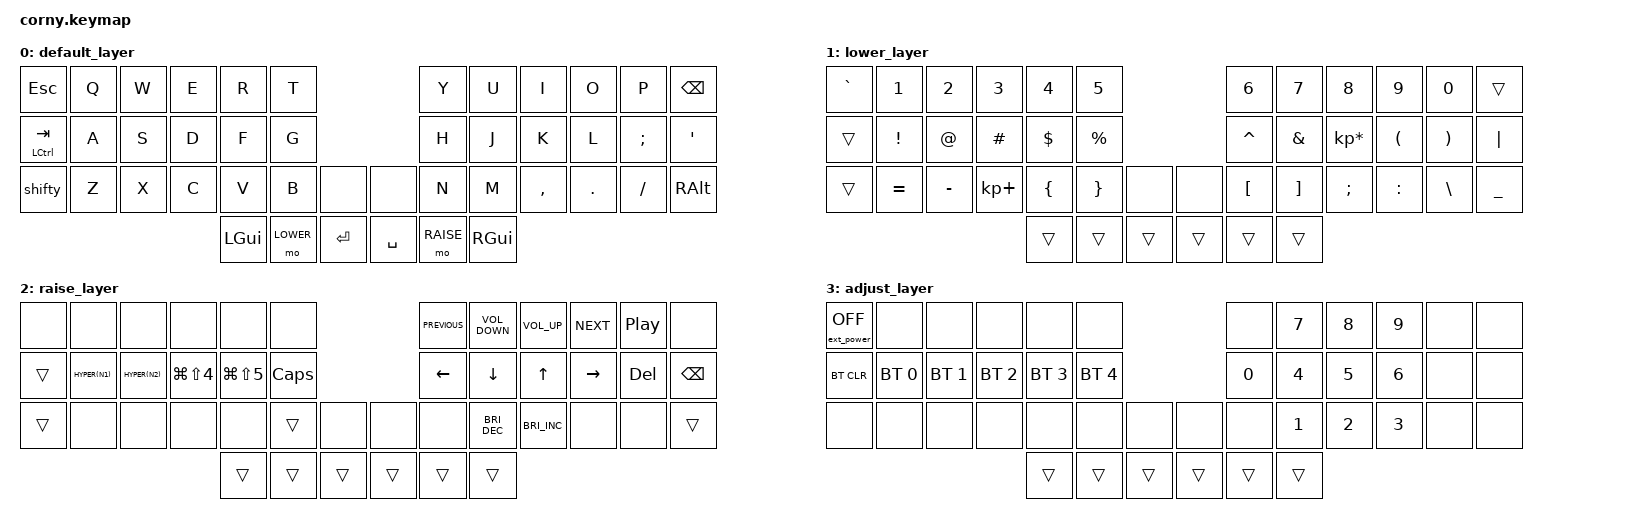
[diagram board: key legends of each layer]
/*
 * Copyright (c) 2020 The ZMK Contributors
 *
 * SPDX-License-Identifier: MIT
 */

#include <behaviors.dtsi>
#include <dt-bindings/zmk/keys.h>
#include <dt-bindings/zmk/bt.h>
#include <dt-bindings/zmk/ext_power.h>

#define DEFAULT 0
#define LOWER   1
#define RAISE   2
#define ADJUST  3

#define HYPER(key) LS(LC(LA(LG(key))))

&mt {
    tapping-term-ms = <200>;
    quick-tap-ms = <150>;
};

/ {
    behaviors {
        shifty: shift_caps_word {
            compatible = "zmk,behavior-tap-dance";
            #binding-cells = <0>;
            tapping-term-ms = <150>;
            bindings = <&kp LSHIFT >, <&caps_word>;
        };
        esc_tab: gaming_esc_tab {
            compatible = "zmk,behavior-tap-dance";
            #binding-cells = <0>;
            tapping-term-ms = <150>;
            bindings = <&kp ESC>, <&kp TAB>;
        };
        layer_alt: gaming_layer {
            compatible = "zmk,behavior-tap-dance";
            #binding-cells = <0>;
            tapping-term-ms = <150>;
            bindings = <&kp LALT>, <&tog GAMING>;
        };
    };
    conditional_layers {
        compatible = "zmk,conditional-layers";
        tri_layer {
            if-layers = <1 2>;
            then-layer = <3>;
        };
    };
    keymap {
        compatible = "zmk,keymap";
        default_layer {
            bindings = <
&kp ESC       &kp Q  &kp W    &kp E      &kp R     &kp T                                   &kp Y      &kp U     &kp I     &kp O    &kp P    &kp BSPC
&mt LCTRL TAB &kp A  &kp S    &kp D      &kp F     &kp G                                   &kp H      &kp J     &kp K     &kp L    &kp SEMI &kp SQT
&shifty       &kp Z  &kp X    &kp C      &kp V     &kp B      &none             &none      &kp N      &kp M     &kp COMMA &kp DOT  &kp FSLH &kp RALT
                                         &kp LGUI   &mo LOWER &kp RET           &kp SPACE  &mo RAISE  &kp RGUI
            >;
        };

        lower_layer {
            bindings = <
&kp GRAVE &kp N1    &kp N2    &kp N3      &kp N4    &kp N5                                  &kp N6    &kp N7   &kp N8          &kp N9    &kp N0    &trans
&trans    &kp EXCL  &kp AT    &kp HASH    &kp DLLR  &kp PRCNT                               &kp CARET &kp AMPS &kp KP_MULTIPLY &kp LPAR  &kp RPAR  &kp PIPE
&trans    &kp EQUAL &kp MINUS &kp KP_PLUS &kp LBRC  &kp RBRC  &none                &none    &kp LBKT  &kp RBKT &kp SEMI        &kp COLON &kp BSLH  &kp UNDERSCORE
                                          &trans    &trans    &trans               &trans   &trans    &trans
            >;
        };

        raise_layer {
            bindings = <
&none      &none           &none         &none              &none             &none                      &kp C_PREVIOUS &kp C_VOLUME_DOWN    &kp C_VOLUME_UP      &kp C_NEXT  &kp C_PLAY_PAUSE &none
&trans     &kp HYPER(N1)   &kp HYPER(N2) &kp LG(LS(N4))     &kp LG(LS(N5))    &kp CLCK                   &kp LEFT       &kp DOWN             &kp UP               &kp RIGHT   &kp DEL          &kp BSPC
&trans     &none           &none         &none              &none             &trans    &none    &none   &none          &kp C_BRIGHTNESS_DEC &kp C_BRIGHTNESS_INC &none       &none            &trans
                                                            &trans            &trans    &trans   &trans  &trans      &trans
            >;
        };

        adjust_layer {
            bindings = <
&ext_power EP_OFF  &none           &none           &none            &none              &none                         &none   &kp N7  &kp N8  &kp N9  &none  &none
&bt BT_CLR         &bt BT_SEL 0    &bt BT_SEL 1    &bt BT_SEL 2     &bt BT_SEL 3       &bt BT_SEL 4                  &kp N0  &kp N4  &kp N5  &kp N6  &none  &none
&none              &none           &none           &none            &none              &none        &none    &none   &none   &kp N1  &kp N2  &kp N3 &none   &none
                                                                    &trans             &trans       &trans   &trans  &trans  &trans
            >;
        };
    };
};
